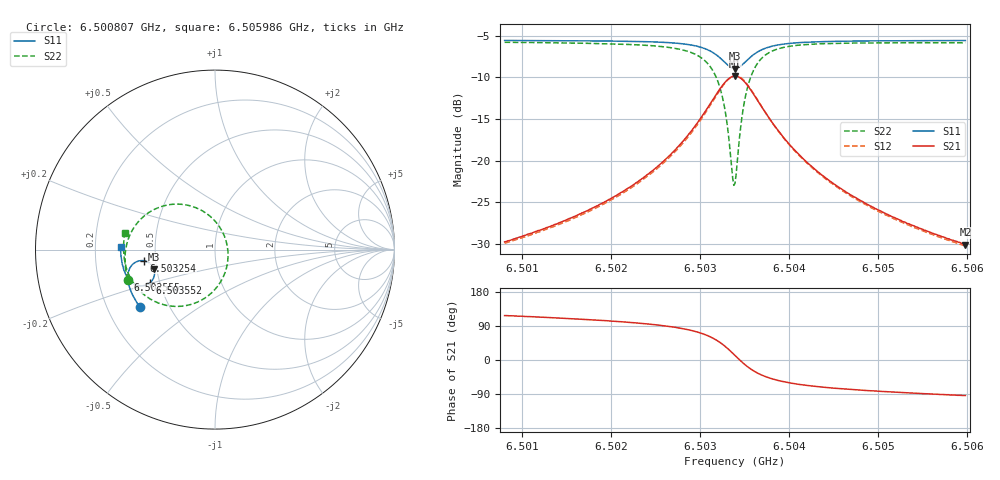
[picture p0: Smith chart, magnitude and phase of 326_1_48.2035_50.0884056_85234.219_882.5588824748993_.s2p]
#  HZ  S  RI  R  50.00
! Rohde & Schwarz Vector Network Analyzer
! Rohde-Schwarz,ZNB20-2Port,1311601062101988,3.16
! Created: UTC 3/20/2024, 11:50:41 AM
! freq[Hz]  re:S11  im:S11  re:S21  im:S21  re:S12  im:S12  re:S22  im:S22
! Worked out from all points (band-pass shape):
!   401 points, 6.500807 GHz to 6.505986 GHz, reference 50 ohm
!   highest |S21| = -9.85 dB at 6.503397 GHz (marker M1); lowest = -30.1 dB at 6.505986 GHz (marker M2)
!   |S21| within 3 dB of the highest: 6.503137 GHz to 6.503656 GHz (518.2 kHz wide, 0.00797 % of centre)
!   lowest |S11| = -8.9 dB at 6.503397 GHz (marker M3), VSWR 2.11, Z = 24.1 - j6.1 ohm
!   |S11| at or under -10 dB: nowhere
!   |S22| runs from -23.0 to -5.8 dB; largest |S21 - S12| = 0.011
!   S11 on the Smith chart (normalised r, x): 6.500807 GHz: 0.34, -0.30; 6.502555 GHz: 0.33, -0.15; 6.503254 GHz: 0.43, -0.06; 6.503552 GHz: 0.44, -0.20; 6.505986 GHz: 0.31, +0.01
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6.5008075e9  -0.4197 -0.3181  -0.0149 0.029  -0.0134 0.0291  -0.4855 -0.167
6.5016748e9  -0.4579 -0.2551  -0.0146 0.0463  -0.0122 0.0459  -0.5012 -0.0769
6.5021538e9  -0.4753 -0.2135  -0.0118 0.065  -0.00877 0.0641  -0.4994 -0.011
6.5025422e9  -0.485 -0.1716  -0.00315 0.0938  0.000357 0.0917  -0.4815 0.0638
6.5025551e9  -0.4854 -0.17  -0.00274 0.0951  0.000919 0.093  -0.4802 0.067
6.50284e9  -0.4836 -0.1283  0.0202 0.1348  0.024 0.1307  -0.4323 0.1493
6.5030341e9  -0.4667 -0.0912  0.0664 0.1754  0.0692 0.1696  -0.3432 0.2215
6.5031636e9  -0.4352 -0.0668  0.1348 0.1978  0.136 0.1916  -0.2188 0.2535
6.5032542e9  -0.3975 -0.0616  0.2101 0.1881  0.2104 0.1828  -0.0884 0.2255
6.503306e9  -0.3724 -0.0702  0.2578 0.1608  0.2586 0.156  -0.00919 0.1689
6.5033707e9  -0.3461 -0.0959  0.3046 0.0982  0.3072 0.0932  0.0614 0.0489
6.5033966e9  -0.3399 -0.1103  0.3146 0.0667  0.3178 0.0608  0.0722 -0.00992
6.5034096e9  -0.3379 -0.1178  0.3174 0.0502  0.3205 0.0439  0.0728 -0.0398
6.5034873e9  -0.344 -0.1617  0.3008 -0.0425  0.3026 -0.0523  0.0162 -0.202
6.503552e9  -0.3647 -0.187  0.259 -0.0957  0.2577 -0.1065  -0.078 -0.2829
6.5036555e9  -0.4034 -0.2017  0.1861 -0.1312  0.1808 -0.1403  -0.2245 -0.3162
6.5038238e9  -0.4486 -0.1918  0.1062 -0.1285  0.0995 -0.1332  -0.3684 -0.2706
6.5040051e9  -0.4758 -0.1705  0.0626 -0.1091  0.0567 -0.1111  -0.439 -0.2071
6.504264e9  -0.4962 -0.1405  0.0334 -0.0855  0.0287 -0.0859  -0.4817 -0.1361
6.5046912e9  -0.5128 -0.0969  0.0134 -0.0611  0.0104 -0.0607  -0.5048 -0.0557
6.5051314e9  -0.5212 -0.0568  0.00491 -0.0467  0.00264 -0.0461  -0.5097 0.00398
6.5059858e9  -0.5258 0.015  -0.00204 -0.0313  -0.00337 -0.0305  -0.5013 0.0925
